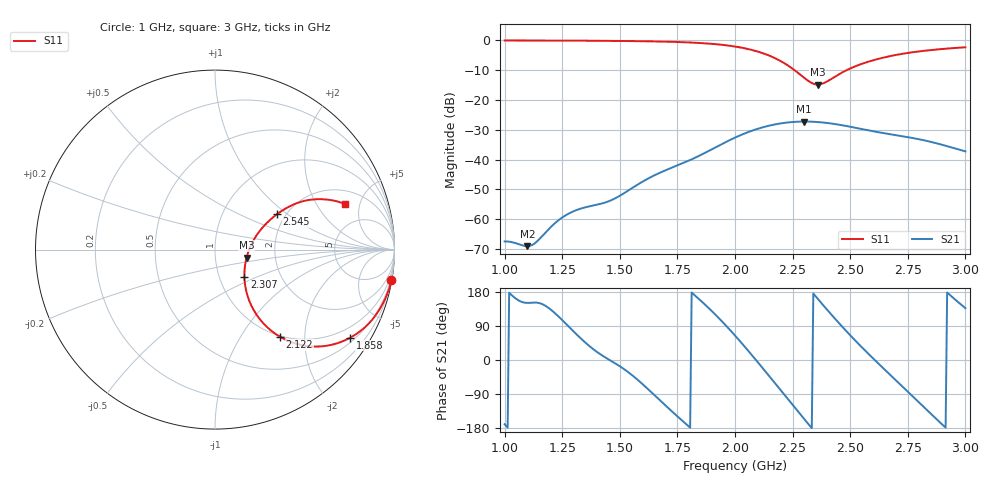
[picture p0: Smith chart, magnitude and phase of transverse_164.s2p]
! TOUCHSTONE file generated by CST MICROWAVE STUDIO
! Date and time: Tue Mar 11 13:57:17 2025
! Project name: transverse.cst
! Parameters = {Fracture=5; B=10; D=160; F=15; Feed=2.85625; L=100; M=20; R=0.384908; S=2; Theta=180; length=57.125; wave=114.25}
! Header version: 2024
! Port assignment regex: !\s*Touchstone port\s*([0-9]+)\s*=\s*(CST MWS port|CST DES external port|CST DES block port)\s*(.+)\s* \(\"(.*)\"\)(\s*mode\s*([0-9]+))?.*
! Touchstone port assignment:
! Touchstone port 1 = CST MWS port 1 ("")
! Touchstone port 2 = CST MWS port 2 ("")
# GHz S MA R 50
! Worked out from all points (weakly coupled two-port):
!   304 points, 1 GHz to 3 GHz, reference 50 ohm
!   highest |S21| = -27.25 dB at 2.3 GHz (marker M1); lowest = -69.1 dB at 1.099 GHz (marker M2)
!   lowest |S11| = -14.8 dB at 2.36 GHz (marker M3), VSWR 1.44, Z = 71 - j6.47 ohm
!   |S11| at or under -10 dB: 2.259 GHz to 2.484 GHz (225.8 MHz wide, 9.52 % of centre)
!   S12 and S22 are empty: the file has one direction only
!   S11 on the Smith chart (normalised r, x): 1 GHz: 0, -12; 1.858 GHz: 0.64, -3.25; 2.122 GHz: 0.98, -1.51; 2.307 GHz: 1.31, -0.43; 2.545 GHz: 1.80, +0.84; 3 GHz: 2.93, +3.61
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1  0.9977 -9.7  0.0004214 -169.5  0 0.0  0 0.0
1.09901  0.9963 -11.1  0.0003506 150.6  0 0.0  0 0.0
1.13201  0.9957 -11.6  0.0003946 151.6  0 0.0  0 0.0
1.20462  0.9941 -12.8  0.0007624 130.9  0 0.0  0 0.0
1.25083  0.9927 -13.6  0.001066 104.9  0 0.0  0 0.0
1.33663  0.9893 -15.2  0.001524 53.5  0 0.0  0 0.0
1.46865  0.9816 -18.1  0.002122 -4.7  0 0.0  0 0.0
1.66667  0.9591 -24.0  0.005818 -102.0  0 0.0  0 0.0
1.85809  0.899 -33.1  0.01227 152.9  0 0.0  0 0.0
2.0033  0.7856 -43.4  0.02363 62.4  0 0.0  0 0.0
2.12211  0.6068 -53.3  0.03488 -22.9  0 0.0  0 0.0
2.21452  0.4134 -57.5  0.04123 -91.8  0 0.0  0 0.0
2.30033  0.2352 -45.6  0.04338 -155.7  0 0.0  0 0.0
2.30693  0.2247 -43.2  0.04338 -160.5  0 0.0  0 0.0
2.33993  0.1877 -26.5  0.04303 175.4  0 0.0  0 0.0
2.35974  0.1814 -14.1  0.04256 161.1  0 0.0  0 0.0
2.39274  0.1976 4.8  0.04139 137.6  0 0.0  0 0.0
2.44554  0.2618 21.6  0.03876 101.2  0 0.0  0 0.0
2.54455  0.3966 29.7  0.03281 37.2  0 0.0  0 0.0
2.66997  0.5411 29.2  0.02672 -37.2  0 0.0  0 0.0
2.82838  0.6741 24.5  0.0207 -129.8  0 0.0  0 0.0
3  0.7669 19.3  0.0137 136.7  0 0.0  0 0.0
